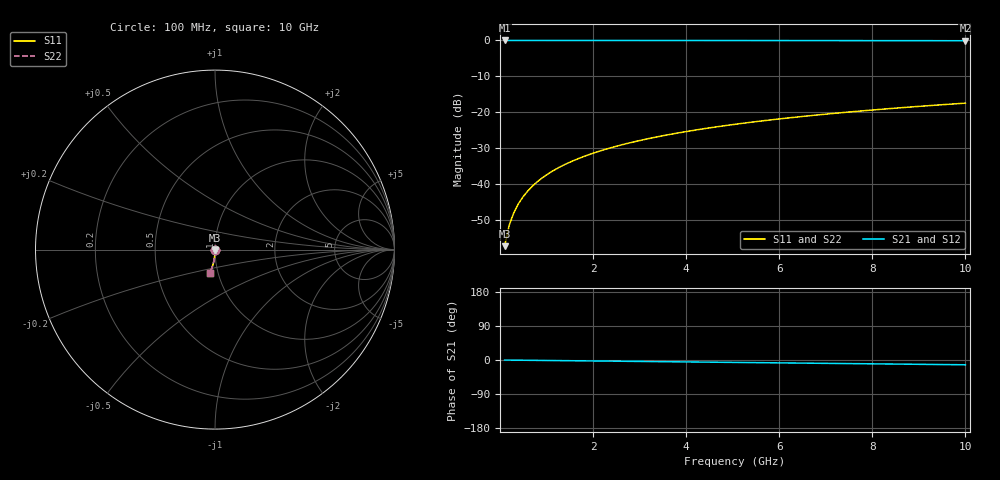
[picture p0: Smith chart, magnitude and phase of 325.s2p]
# Hz S RI R 50.00
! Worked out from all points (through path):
!   100 points, 100 MHz to 10 GHz, reference 50 ohm
!   highest |S21| = 0.00 dB at 100 MHz (marker M1); lowest = -0.1 dB at 10 GHz (marker M2)
!   group delay of S21, straight-line fit = 3.51 ps
!   lowest |S11| = -57.2 dB at 100 MHz (marker M3), VSWR 1.00, Z = 50 - j0.136 ohm
!   |S11| at or under -10 dB: start of sweep to end of sweep
!   |S22| runs from -57.2 to -17.4 dB; largest |S21 - S12| = 0
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1e8  0.000285 -0.00135  0.9997 -0.0022  0.9997 -0.0022  0.000285 -0.00135
2e8  0.000276 -0.00271  0.9997 -0.0044  0.9997 -0.0044  0.000276 -0.00271
3e8  0.000261 -0.00406  0.9997 -0.0066  0.9997 -0.0066  0.000261 -0.00406
4e8  0.00024 -0.00542  0.9996 -0.0088  0.9996 -0.0088  0.00024 -0.00542
5e8  0.000212 -0.00677  0.9996 -0.011  0.9996 -0.011  0.000212 -0.00677
6e8  0.000179 -0.00813  0.9996 -0.0132  0.9996 -0.0132  0.000179 -0.00813
7e8  0.000139 -0.00948  0.9995 -0.0154  0.9995 -0.0154  0.000139 -0.00948
8e8  9.32e-05 -0.0108  0.9995 -0.0176  0.9995 -0.0176  9.32e-05 -0.0108
9e8  4.15e-05 -0.0122  0.9994 -0.0198  0.9994 -0.0198  4.15e-05 -0.0122
1.1e9  -7.99e-05 -0.0149  0.9993 -0.0242  0.9993 -0.0242  -7.99e-05 -0.0149
1.4e9  -0.000307 -0.019  0.999 -0.0308  0.999 -0.0308  -0.000307 -0.019
1.8e9  -0.000693 -0.0244  0.9986 -0.0396  0.9986 -0.0396  -0.000693 -0.0244
2.1e9  -0.00105 -0.0284  0.9982 -0.0462  0.9982 -0.0462  -0.00105 -0.0284
2.5e9  -0.0016 -0.0338  0.9976 -0.055  0.9976 -0.055  -0.0016 -0.0338
2.9e9  -0.00225 -0.0392  0.9968 -0.0638  0.9968 -0.0638  -0.00225 -0.0392
3.4e9  -0.00319 -0.0459  0.9958 -0.0747  0.9958 -0.0747  -0.00319 -0.0459
4.2e9  -0.00501 -0.0566  0.9937 -0.0922  0.9937 -0.0922  -0.00501 -0.0566
5.1e9  -0.00751 -0.0686  0.9909 -0.1118  0.9909 -0.1118  -0.00751 -0.0686
5.9e9  -0.0101 -0.0791  0.988 -0.1292  0.988 -0.1292  -0.0101 -0.0791
6.7e9  -0.0131 -0.0896  0.9846 -0.1465  0.9846 -0.1465  -0.0131 -0.0896
8.4e9  -0.0207 -0.1114  0.9761 -0.1828  0.9761 -0.1828  -0.0207 -0.1114
1e10  -0.0292 -0.1313  0.9665 -0.2164  0.9665 -0.2164  -0.0292 -0.1313
